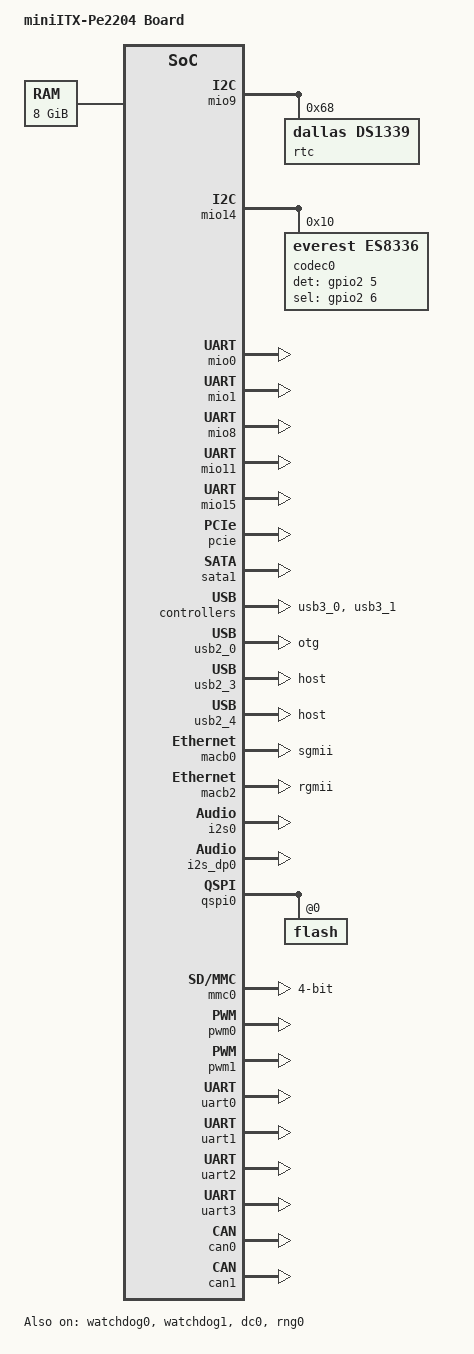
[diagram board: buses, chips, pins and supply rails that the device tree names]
// SPDX-License-Identifier: GPL-2.0
/*
 * DTS file for Phytium miniITX-Pe2204 development board.
 *
 * Copyright (c) 2022-2023 Phytium Technology Co., Ltd.
 *
 * Shaojun Yang <yangshaojun@phytium.com.cn>
 *
 * This program is free software; you can redistribute it and/or
 * modify it under the terms of the GNU General Public License as
 * published by the Free Software Foundation; either version 2 of
 * the License, or (at your option) any later version.
 */

/dts-v1/;
/memreserve/ 0x80000000 0x10000;
/memreserve/ 0xf4000000 0x4000000;

#include "pe2204.dtsi"

/{
	model = "miniITX-Pe2204 Board";
	compatible = "phytium,pe2204";

	chosen {
		stdout-path = "serial1:115200n8";
	};
	aliases {
		serial4 = &mio0;
		serial5 = &mio1;
		serial6 = &mio8;
		serial7 = &mio11;
		serial8 = &mio15;
	};

	memory@00{
		device_type = "memory";
		reg = <0x0 0x80000000 0x2 0x00000000>;
	};

	sound_card: sound {
		compatible = "simple-audio-card";
		simple-audio-card,format = "i2s";
		simple-audio-card,name = "phytium,pe220x-i2s-audio";
		simple-audio-card,cpu {
			sound-dai = <&i2s0>;
		};
		simple-audio-card,codec{
			sound-dai = <&codec0>;
		};
	};
};

&soc {
	mio9: i2c@28026000 {
		compatible = "phytium,i2c";
		reg = <0x0 0x28026000 0x0 0x1000>;
		interrupts = <GIC_SPI 101 IRQ_TYPE_LEVEL_HIGH>;
		clocks = <&sysclk_50mhz>;
		#address-cells = <1>;
		#size-cells = <0>;
		status = "okay";

		rtc@68 {
			compatible = "dallas,ds1339";
			reg = <0x68>;
		};
	};

	mio14: i2c@28030000 {
		compatible = "phytium,i2c";
		reg = <0x0 0x28030000 0x0 0x1000>;
		interrupts = <GIC_SPI 106 IRQ_TYPE_LEVEL_HIGH>;
		clocks = <&sysclk_50mhz>;
		#address-cells = <1>;
		#size-cells = <0>;
		status = "okay";

		codec0: es8336@10 {
			det-gpios = <&gpio2 5 0>;
			sel-gpios = <&gpio2 6 0>;
			#sound-dai-cells = <0>;
			compatible = "everest,es8336";
			reg = <0x10>;
			mic-src = [20];
		};
	};


	mio0: uart@28014000 {
		compatible = "arm,pl011","arm,primecell";
		reg = <0x0 0x28014000 0x0 0x1000>;
		interrupts = <GIC_SPI 92 IRQ_TYPE_LEVEL_HIGH>;
		clocks = <&sysclk_50mhz &sysclk_50mhz>;
		clock-names = "uartclk", "apb_pclk";
		status = "okay";
	};

	mio1: uart@28016000 {
		compatible = "arm,pl011","arm,primecell";
		reg = <0x0 0x28016000 0x0 0x1000>;
		interrupts = <GIC_SPI 93 IRQ_TYPE_LEVEL_HIGH>;
		clocks = <&sysclk_50mhz &sysclk_50mhz>;
		clock-names = "uartclk", "apb_pclk";
		status = "okay";
	};

	mio8: uart@28024000 {
		compatible = "arm,pl011","arm,primecell";
		reg = <0x0 0x28024000 0x0 0x1000>;
		interrupts = <GIC_SPI 100 IRQ_TYPE_LEVEL_HIGH>;
		clocks = <&sysclk_50mhz &sysclk_50mhz>;
		clock-names = "uartclk", "apb_pclk";
		status = "okay";
	};

	mio11: uart@2802A000 {
		compatible = "arm,pl011","arm,primecell";
		reg = <0x0 0x2802A000 0x0 0x1000>;
		interrupts = <GIC_SPI 103 IRQ_TYPE_LEVEL_HIGH>;
		clocks = <&sysclk_50mhz &sysclk_50mhz>;
		clock-names = "uartclk", "apb_pclk";
		status = "okay";
	};

	mio15: uart@28032000 {
		compatible = "arm,pl011","arm,primecell";
		reg = <0x0 0x28032000 0x0 0x1000>;
		interrupts = <GIC_SPI 107 IRQ_TYPE_LEVEL_HIGH>;
		clocks = <&sysclk_50mhz &sysclk_50mhz>;
		clock-names = "uartclk", "apb_pclk";
		status = "okay";
	};
};

&gpio0 {
	status = "okay";
};

&gpio1 {
	status = "okay";
};

&gpio2 {
	status = "okay";
};

&gpio3 {
	status = "okay";
};

&gpio4 {
	status = "okay";
};

&gpio5 {
	status = "okay";
};

&watchdog0 {
	status = "okay";
};

&watchdog1 {
	status = "okay";
};

&pcie {
	status = "okay";
};

&sata1 {
	status = "okay";
};

&usb3_0 {
	status = "okay";
};

&usb3_1 {
	status = "okay";
};

&usb2_0 {
	dr_mode = "otg";
	status = "okay";
};

&usb2_1 {
	dr_mode = "peripheral";
	status = "disabled";
};

&usb2_2 {
	dr_mode = "peripheral";
	status = "disabled";
};

&usb2_3 {
	dr_mode = "host";
	status = "okay";
};

&usb2_4 {
	dr_mode = "host";
	status = "okay";
};

&macb0 {
	phy-mode = "sgmii";
	use-mii;
	status = "okay";
};

&macb2 {
	phy-mode = "rgmii";
	use-mii;
	status = "okay";
};

&dc0 {
		reg = <0x0 0x32000000 0x0 0x8000>,
			  <0x0 0xf4000000 0x0 0x4000000>; // (optional)
	pipe_mask = [03];
	edp_mask = [00];
	status = "okay";
};

&i2s0 {
	#sound-dai-cells = <0>;
	dai-name = "phytium-i2s-lsd";
	status = "okay";
};

&i2s_dp0 {
	dai-name = "phytium-i2s-dp0";
	status = "okay";
};

&qspi0 {
	status = "okay";

	flash@0 {
		status = "okay";
	};
};

&spi0 {
	global-cs = <1>;
	status = "disabled";

	flash: w25q128@0 {
		compatible = "winbond,w25q128", "jedec,spi-nor";
		spi-tx-bus-width = <1>;
		spi-rx-bus-width = <1>;
		spi-max-frequency = <12000000>;
		reg = <0x00>;
		status = "disabled";
	};
};

&spi1 {
	global-cs = <1>;
	status = "disabled";
};

&spi2 {
	global-cs = <1>;
	status = "disabled";
};

&mmc0 {
	bus-width = <0x00000004>;
	max-frequency = <50000000>;
	cap-sdio-irq;
	cap-sd-highspeed;
	no-mmc;
	status = "okay";
};

&mmc1 {
	bus-width = <0x00000008>;
	max-frequency = <50000000>;
	cap-mmc-hw-reset;
	cap-mmc-highspeed;
	no-sdio;
	no-sd;
	non-removable;
	status = "disabled";
};

&pwm0 {
	phytium,db = <0 0 0 1000 1000 0>;
	status = "okay";
};

&pwm1 {
	phytium,db = <0 0 0 1000 1000 0>;
	status = "okay";
};

&uart0 {
	status = "okay";
};

&uart1 {
	status = "okay";
};

&uart2 {
	status = "okay";
};

&uart3 {
	status = "okay";
};

&can0 {
	status = "okay";
};

&can1 {
	status = "okay";
};

&rng0 {
	status = "okay";
};

